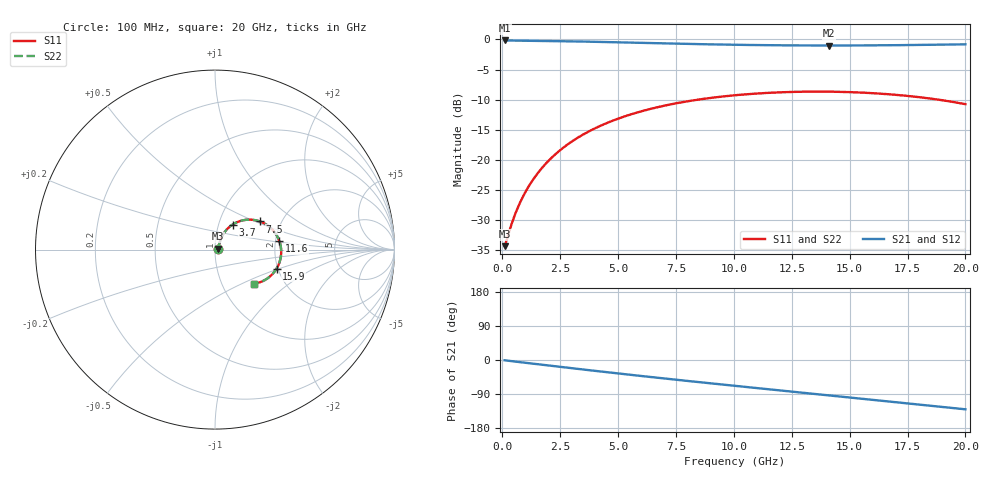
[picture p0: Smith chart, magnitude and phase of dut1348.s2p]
! Touchstone file exported from HFSS 2026.1.0
!  File:  C:/ffzhzh/LocalFiles/Ansys_Project_Files/temp_train_TSV_RDL_1348_1783340365_5512.aedt
!  Generated:  08:29:52 PM Jul  6, 2026
!  Design:  TSV_RDL
!  Project:  temp_train_TSV_RDL_1348_1783340365_5512
! Variables:
!  h_bsmrdl = 3.86um
!  h_ox = 20um
!  h_rdl = 5um
!  h_sub = 53.57um
!  h_tmrdl = 3.47um
!  h_tsv = 53.57um
!  h_via = 3um
!  l_bsmrdl = 350.5um
!  l_sub = 2326.63um
!  l_tmrdl = 195.81um
!  m_sub = 200um
!  pitch = 24.43um
!  r_tsv = 2.67um
!  s_tmrdl = 10um
!  w_bsmrdl = 13.39um
!  w_sub = 500um
!  w_tmrdl = 17.24um
!  x_tsv_center1 = 204.43um
!  x_tsv_center2 = 568.32um
!  x_tsv_center3 = 781.37um
!  x_tsv_center4 = 1145.26um
!  x_tsv_center5 = 1358.31um
!  x_tsv_center6 = 1722.2um
# GHz S MA R 50.000000
! Terminal data exported
! Port[1] = TM_RDL1_1_T1
! Port[2] = TM_RDL5_1_T1
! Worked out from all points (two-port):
!   200 points, 100 MHz to 20 GHz, reference 50 ohm
!   highest |S21| = -0.16 dB at 100 MHz (marker M1); lowest = -1.0 dB at 14.1 GHz (marker M2)
!   |S21| within 3 dB of the highest: start of sweep to end of sweep
!   lowest |S11| = -34.3 dB at 100 MHz (marker M3), VSWR 1.04, Z = 51.9 + j0.568 ohm
!   |S11| at or under -10 dB: start of sweep to 8.437 GHz; 18.85 GHz to end of sweep
!   |S22| runs from -34.3 to -8.7 dB; largest |S21 - S12| = 3.9e-13
!   S11 on the Smith chart (normalised r, x): 100 MHz: 1.04, +0.01; 3.7 GHz: 1.17, +0.34; 7.5 GHz: 1.55, +0.53; 11.6 GHz: 2.10, +0.24; 15.9 GHz: 1.97, -0.48; 20 GHz: 1.42, -0.59
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0.1  0.01922 16.5  0.9816 -0.8  0.9816 -0.8  0.01922 16.5
! Gamma 0 0 0 0
! Port Impedance 50 0 50 0
0.4  0.02927 43.9  0.9798 -3.0  0.9798 -3.0  0.02927 43.9
0.7  0.04142 54.1  0.9783 -5.2  0.9783 -5.2  0.04142 54.1
1  0.0542 58.9  0.9771 -7.4  0.9771 -7.4  0.0542 58.9
1.4  0.0718 61.6  0.9753 -10.2  0.9753 -10.2  0.0718 61.6
1.8  0.08963 62.1  0.9733 -13.1  0.9733 -13.1  0.08963 62.1
2.3  0.1118 61.2  0.9703 -16.7  0.9703 -16.7  0.1118 61.2
2.9  0.1378 58.9  0.9661 -20.9  0.9661 -20.9  0.1378 58.9
3.5  0.1628 55.9  0.9613 -25.1  0.9613 -25.1  0.1628 55.9
3.7  0.1709 54.8  0.9595 -26.5  0.9595 -26.5  0.1709 54.8
5.1  0.2235 46.7  0.9465 -36.2  0.9465 -36.2  0.2235 46.7
6.8  0.2766 36.4  0.9299 -47.5  0.9299 -47.5  0.2766 36.4
7.5  0.295 32.1  0.9234 -52.0  0.9234 -52.0  0.2949 32.1
8.8  0.3235 24.3  0.9125 -60.3  0.9125 -60.3  0.3235 24.3
10.1  0.345 16.6  0.9035 -68.5  0.9035 -68.5  0.345 16.6
11.6  0.3613 7.8  0.8961 -77.8  0.8961 -77.8  0.3613 7.8
13.4  0.3692 -2.7  0.8917 -88.8  0.8917 -88.8  0.3692 -2.7
14.1  0.3688 -6.7  0.8913 -93.1  0.8913 -93.1  0.3688 -6.7
15.9  0.3592 -17.1  0.8935 -104.2  0.8935 -104.2  0.3591 -17.1
16.7  0.3508 -21.7  0.8958 -109.2  0.8958 -109.2  0.3508 -21.7
18.4  0.3249 -31.6  0.903 -119.9  0.903 -119.9  0.3249 -31.6
20  0.2903 -40.9  0.9116 -130.2  0.9116 -130.2  0.2903 -40.9
